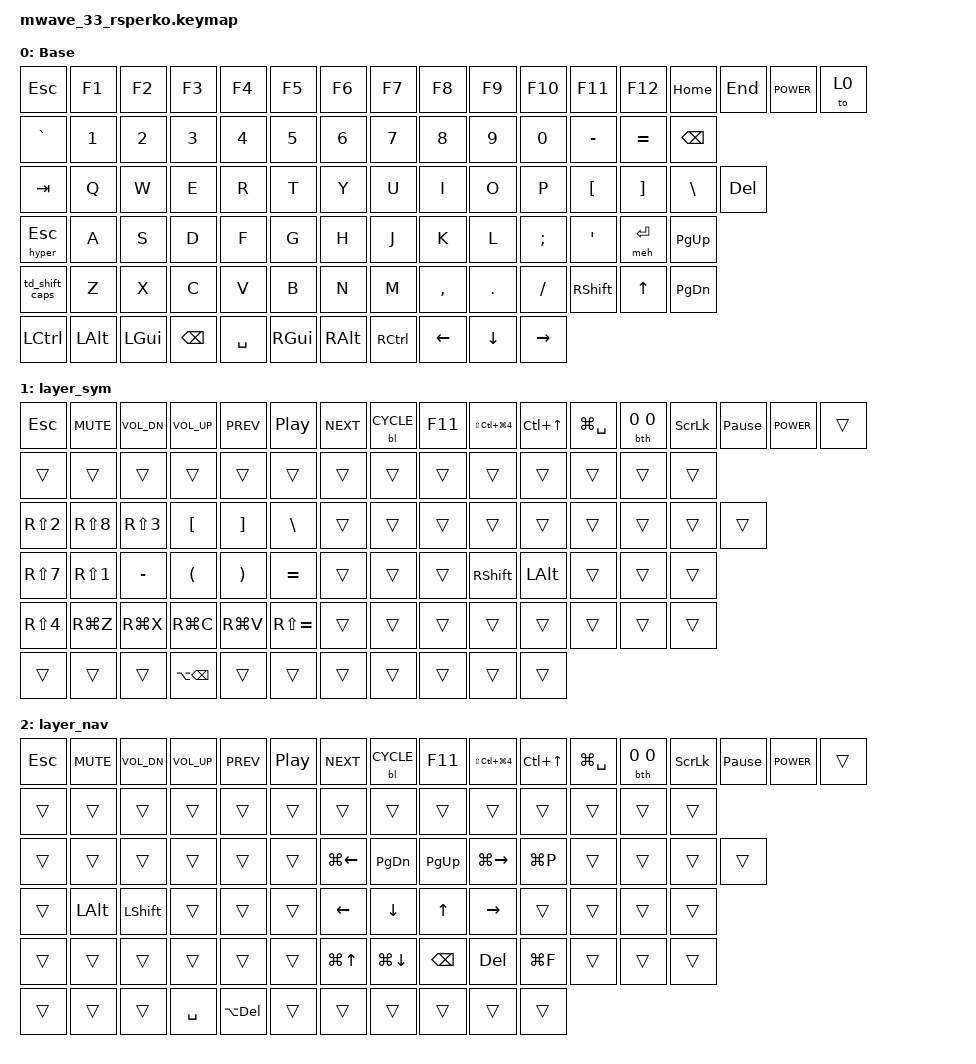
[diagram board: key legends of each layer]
#include <dt-bindings/advertising_mode.h>
#include <behaviors/advertising_mode.dtsi>
#include <behaviors/stp_indicators.dtsi>
#include <behaviors.dtsi>
#include <dt-bindings/zmk/backlight.h>
#include <dt-bindings/zmk/keys.h>
#include "studio-macros.dtsi"

/ {
    #include "mwave_prim.dtsi"

    macros {
        hyper: hyper_macro {
            compatible = "zmk,behavior-macro-one-param";
            #binding-cells = <1>;
            wait-ms = <0>;
            tap-ms = <0>;
            bindings =
                <&macro_press>,
                <&kp LCTRL &kp LALT &kp LSHFT &kp LGUI>,
                <&macro_pause_for_release>,
                <&macro_release>,
                <&kp LCTRL &kp LALT &kp LSHFT &kp LGUI>;
        };

        meh: meh_macro {
            compatible = "zmk,behavior-macro-one-param";
            #binding-cells = <1>;
            wait-ms = <0>;
            tap-ms = <0>;
            bindings =
                <&macro_press>,
                <&kp LCTRL &kp LALT &kp LSHFT>,
                <&macro_pause_for_release>,
                <&macro_release>,
                <&kp LCTRL &kp LALT &kp LSHFT>;
        };
    };

    behaviors {
        td_shift_caps: td_shift_caps {
            compatible = "zmk,behavior-tap-dance";
            #binding-cells = <0>;
            tapping-term-ms = <200>;
            bindings = <&sk LSHFT>, <&caps_word>;
        };

        ht_hyper: ht_hyper {
            compatible = "zmk,behavior-hold-tap";
            #binding-cells = <2>;
            tapping-term-ms = <200>;
            flavor = "balanced";
            bindings = <&hyper>, <&kp>;
        };

        ht_meh_enter: ht_meh_enter {
            compatible = "zmk,behavior-hold-tap";
            #binding-cells = <2>;
            tapping-term-ms = <200>;
            flavor = "balanced";
            bindings = <&meh>, <&kp>;
        };
    };

    combos {
        compatible = "zmk,combos";

        combo_nav {
            key-positions = <49 50>;  // D + F
            bindings = <&mo 2>;
        };

        combo_sym {
            key-positions = <53 54>;  // J + K
            bindings = <&mo 1>;
        };
    };

    keymap {
        compatible = "zmk,keymap";

        default_layer {
            display-name = "Base";

            // -------------------------------------------------------------------------------------------------------
            // | ESC | F1  | F2  | F3  | F4  | F5  | F6  | | F7  | F8  | F9  | F10 | F11 | F12 |HOME| END |PSCN|  1  |
            // |GRAVE|  1  |  2  |  3  |  4  |  5  |  6  | |   7   |  8  |  9  |  0  |  -  |  =  |    BKSP     | DEL |
            // | TAB    |  Q  |  W  |  E  |  R  |   T    | |   Y  |  U  |  I  |  O  |  P  |  [  |  ]  |   \    |     |
            // | CAPS     |  A  |  S  |  D  |  F  |  G   | |  H    |  J  |  K  |  L  |  ;  |  '  |    ENTER    | PGUP|
            // |   SHIFT   |  Z  |  X  |  C  |  V  |  B  | |    N    |  M  |  ,  |  .  |  /  |   SHIFT   | UP  | PGDN|
            // |  CTL  |  WIN  |  ALT  |      SPACE      | |      SPACE        | ALT | MENU |RCTRL| LEFT| DOWN |RIGHT|
            // -------------------------------------------------------------------------------------------------------

            bindings = <
&kp ESC          &kp F1        &kp F2        &kp F3         &kp F4     &kp F5         &kp F6         &kp F7     &kp F8     &kp F9    &kp F10    &kp F11    &kp F12                &kp HOME   &kp END  &kp K_POWER  &to 0
&kp GRAVE        &kp N1        &kp N2        &kp N3         &kp N4     &kp N5         &kp N6         &kp N7     &kp N8     &kp N9    &kp N0     &kp MINUS  &kp EQUAL              &kp BSPC
&kp TAB          &kp Q         &kp W         &kp E          &kp R      &kp T          &kp Y          &kp U      &kp I      &kp O     &kp P      &kp LBKT   &kp RBKT               &kp BSLH   &kp DEL
&ht_hyper 0 ESC  &kp A         &kp S         &kp D          &kp F      &kp G          &kp H          &kp J      &kp K      &kp L     &kp SEMI   &kp SQT    &ht_meh_enter 0 ENTER  &kp PG_UP
&td_shift_caps   &kp Z         &kp X         &kp C          &kp V      &kp B          &kp N          &kp M      &kp COMMA  &kp DOT   &kp FSLH   &kp RSHFT  &kp UP                 &kp PG_DN
&kp LCTRL        &kp LEFT_ALT  &kp LEFT_GUI  &kp BACKSPACE  &kp SPACE  &kp RIGHT_GUI  &kp RIGHT_ALT  &kp RCTRL  &kp LEFT   &kp DOWN  &kp RIGHT
            >;
        };

        layer_sym {
            bindings = <
&kp ESC           &kp C_MUTE        &kp C_VOL_DN      &kp C_VOL_UP          &kp C_PREV             &kp C_PP       &kp C_NEXT  &bl BL_CYCLE  &kp F11  &kp LS(LC(LG(NUMBER_4)))  &kp LC(UP_ARROW)  &kp LG(SPACE)  &bth 0 0  &kp SCROLLLOCK  &kp PAUSE_BREAK  &kp K_POWER  &trans
&trans            &trans            &trans            &trans                &trans                 &trans         &trans      &trans        &trans   &trans                    &trans            &trans         &trans    &trans
&kp RS(NUMBER_2)  &kp RS(NUMBER_8)  &kp RS(NUMBER_3)  &kp LEFT_BRACKET      &kp RIGHT_BRACKET      &kp BACKSLASH  &trans      &trans        &trans   &trans                    &trans            &trans         &trans    &trans          &trans
&kp RS(NUMBER_7)  &kp RS(NUMBER_1)  &kp MINUS         &kp LEFT_PARENTHESIS  &kp RIGHT_PARENTHESIS  &kp EQUAL      &trans      &trans        &trans   &kp RIGHT_SHIFT           &kp LEFT_ALT      &trans         &trans    &trans
&kp RS(NUMBER_4)  &kp RG(Z)         &kp RG(X)         &kp RG(C)             &kp RG(V)              &kp RS(EQUAL)  &trans      &trans        &trans   &trans                    &trans            &trans         &trans    &trans
&trans            &trans            &trans            &kp LA(BACKSPACE)     &trans                 &trans         &trans      &trans        &trans   &trans                    &trans
            >;
        };

        layer_nav {
            bindings = <
&kp ESC  &kp C_MUTE  &kp C_VOL_DN  &kp C_VOL_UP  &kp C_PREV      &kp C_PP  &kp C_NEXT        &bl BL_CYCLE   &kp F11        &kp LS(LC(LG(NUMBER_4)))  &kp LC(UP_ARROW)  &kp LG(SPACE)  &bth 0 0  &kp SCROLLLOCK  &kp PAUSE_BREAK  &kp K_POWER  &trans
&trans   &trans      &trans        &trans        &trans          &trans    &trans            &trans         &trans         &trans                    &trans            &trans         &trans    &trans
&trans   &trans      &trans        &trans        &trans          &trans    &kp LG(LEFT)      &kp PAGE_DOWN  &kp PG_UP      &kp LG(RIGHT)             &kp LG(P)         &trans         &trans    &trans          &trans
&trans   &kp LALT    &kp LSHFT     &trans        &trans          &trans    &kp LEFT          &kp DOWN       &kp UP_ARROW   &kp RIGHT                 &trans            &trans         &trans    &trans
&trans   &trans      &trans        &trans        &trans          &trans    &kp LG(UP_ARROW)  &kp LG(DOWN)   &kp BACKSPACE  &kp DELETE                &kp LG(F)         &trans         &trans    &trans
&trans   &trans      &trans        &kp SPACE     &kp LA(DELETE)  &trans    &trans            &trans         &trans         &trans                    &trans
            >;
        };
    };
};
